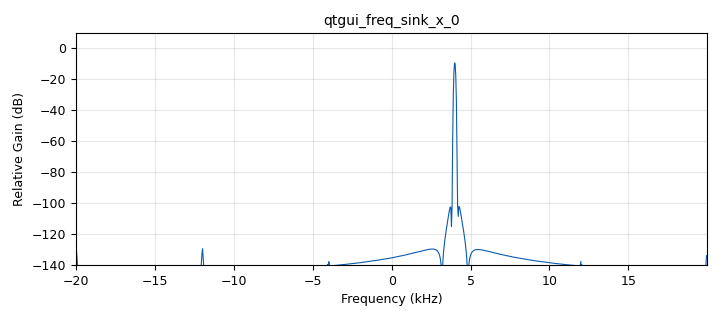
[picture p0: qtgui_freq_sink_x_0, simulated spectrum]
options:
  parameters:
    generate_options: qt_gui
    id: lesson2
    output_language: python
    title: Not titled yet
  states: {}

blocks:
- name: samp_rate
  id: variable
  parameters:
    value: '32000'
  states: {}
- name: analog_sig_source_x_0
  id: analog_sig_source_x
  parameters:
    amp: '1'
    freq: '1000'
    offset: '0'
    phase: '0'
    samp_rate: 10e3
    type: complex
    waveform: analog.GR_COS_WAVE
  states: {}
- name: blocks_throttle2_0
  id: blocks_throttle2
  parameters:
    samples_per_second: 40e3
    type: complex
  states: {}
- name: qtgui_freq_sink_x_0
  id: qtgui_freq_sink_x
  parameters:
    bw: 40e3
    fc: '0'
    fftsize: '1024'
    type: complex
  states: {}

connections:
- [analog_sig_source_x_0, '0', blocks_throttle2_0, '0']
- [blocks_throttle2_0, '0', qtgui_freq_sink_x_0, '0']

metadata:
  file_format: 1
  grc_version: 3.10.12.0
